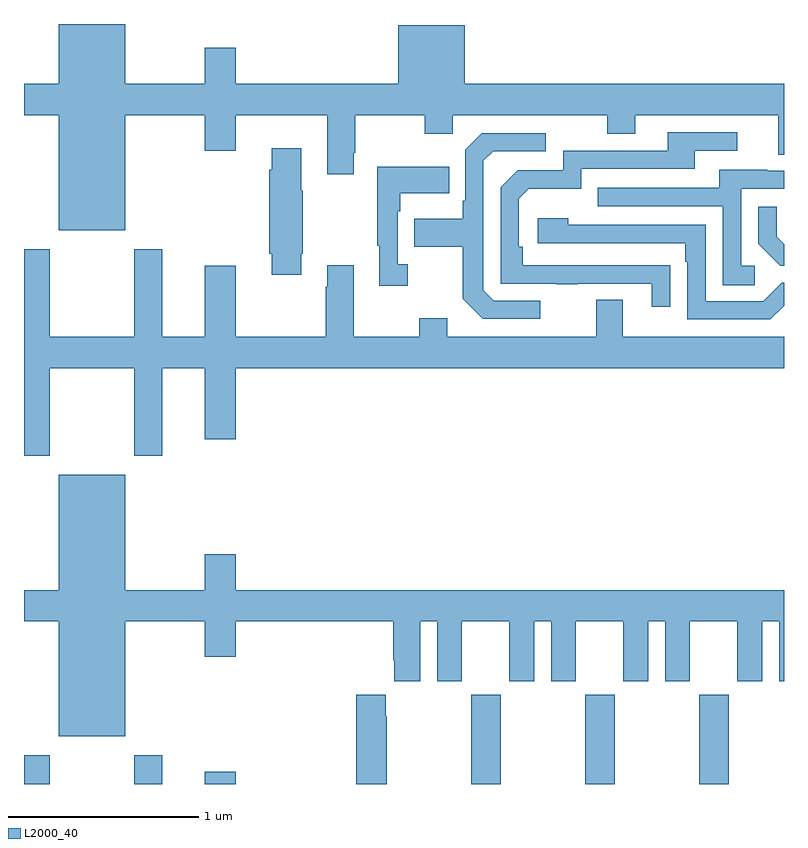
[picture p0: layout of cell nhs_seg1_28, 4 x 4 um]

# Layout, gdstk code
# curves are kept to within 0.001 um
import gdstk
lib = gdstk.Library(unit=1e-6, precision=1e-09)
def R(c, l, rs):  # rectangles x0, y0, x1, y1
    for r in rs: c.add(gdstk.rectangle(r[:2], r[2:], *l))
def A(c, l, x, y, w, h, nx, ny, dx, dy):  # array of equal rectangles
    R(c, l, [(x+i*dx, y+j*dy, x+i*dx+w, y+j*dy+h) for i in range(nx) for j in range(ny)])
def P(c, l, *ps):  # polygons
    for p in ps: c.add(gdstk.Polygon(p, *l))
L2000_40 = (2000, 40)

nhs_seg1_28 = lib.new_cell('nhs_seg1_28')
A(nhs_seg1_28, L2000_40, 113.353, 560.199, 0.155, 0.469, 3, 1, 0.6, 0)
R(nhs_seg1_28, L2000_40, [(111,560.199,111.135,560.35), (111.58,560.199,111.727,560.35), (111.95,560.199,112.114,560.263)])
P(nhs_seg1_28, L2000_40, [(111.532,563.72),(111.95,563.72),(111.95,563.532),(112.114,563.532),(112.114,563.72),(112.595,563.72),(112.595,563.409),(112.735,563.409),(112.735,563.521),(112.743,563.521),(112.743,563.72),(113.11,563.72),(113.11,563.621),(113.256,563.621),(113.256,563.72),(114.07,563.72),(114.07,563.621),(114.217,563.621),(114.217,563.72),(114.971,563.72),(114.971,563.512),(115,563.512),(115,563.884),(113.32,563.884),(113.32,564.193),(112.97,564.193),(112.97,563.884),(112.114,563.884),(112.114,564.073),(111.95,564.073),(111.95,563.884),(111.532,563.884),(111.532,564.199),(111.182,564.199),(111.182,563.884),(111,563.884),(111,563.72),(111.182,563.72),(111.182,563.114),(111.532,563.114)],
  [(114.401,562.928),(113.624,562.929),(113.624,563.026),(113.604,563.026),(113.604,563.28),(113.657,563.333),(113.934,563.333),(113.934,563.436),(114.529,563.436),(114.529,563.532),(114.754,563.532),(114.754,563.628),(114.389,563.628),(114.389,563.532),(113.838,563.532),(113.838,563.43),(113.598,563.43),(113.508,563.34),(113.508,562.833),(113.803,562.833),(113.803,562.828),(113.915,562.828),(113.915,562.833),(114.305,562.833),(114.305,562.71),(114.401,562.71)],
  [(113.716,562.743),(113.472,562.743),(113.418,562.797),(113.418,563.478),(113.469,563.529),(113.746,563.529),(113.746,563.625),(113.409,563.625),(113.322,563.538),(113.322,563.269),(113.31,563.269),(113.31,563.173),(113.053,563.173),(113.053,563.026),(113.31,563.026),(113.31,562.753),(113.415,562.647),(113.716,562.647)],
  [(112.459,562.99),(112.467,562.99),(112.467,563.321),(112.459,563.321),(112.459,563.545),(112.304,563.545),(112.304,563.432),(112.292,563.432),(112.292,562.99),(112.304,562.99),(112.304,562.878),(112.459,562.878)],
  [(113.02,562.934),(112.968,562.934),(112.968,563.213),(112.981,563.213),(112.981,563.309),(113.237,563.309),(113.237,563.449),(112.86,563.449),(112.86,563.033),(112.871,563.033),(112.871,562.821),(113.02,562.821)],
  [(114.847,562.926),(114.774,562.926),(114.774,563.331),(115,563.331),(115,563.427),(114.913,563.427),(114.913,563.431),(114.659,563.431),(114.659,563.337),(114.019,563.337),(114.019,563.241),(114.678,563.241),(114.678,562.825),(114.847,562.825)],
  [(115,563.04),(114.961,563.079),(114.961,563.236),(114.864,563.236),(114.864,563.042),(114.98,562.926),(115,562.926)],
  [(115,562.717),(115,562.836),(114.987,562.836),(114.891,562.74),(114.588,562.74),(114.588,563.142),(113.864,563.142),(113.864,563.176),(113.703,563.176),(113.703,563.046),(114.479,563.046),(114.479,562.949),(114.492,562.949),(114.492,562.644),(114.927,562.644)],
  [(111.135,562.388),(111.58,562.388),(111.58,561.927),(111.727,561.927),(111.727,562.388),(111.95,562.388),(111.95,562.014),(112.114,562.014),(112.114,562.388),(115,562.388),(115,562.552),(114.151,562.552),(114.151,562.747),(114.011,562.747),(114.011,562.552),(113.227,562.552),(113.227,562.651),(113.08,562.651),(113.08,562.552),(112.735,562.552),(112.735,562.93),(112.595,562.93),(112.595,562.817),(112.588,562.817),(112.588,562.552),(112.114,562.552),(112.114,562.927),(111.95,562.927),(111.95,562.552),(111.727,562.552),(111.727,563.014),(111.58,563.014),(111.58,562.552),(111.135,562.552),(111.135,563.014),(111,563.014),(111,561.927),(111.135,561.927)],
  [(111.532,561.056),(111.95,561.056),(111.95,560.868),(112.114,560.868),(112.114,561.056),(112.943,561.056),(112.943,560.851),(112.949,560.851),(112.949,560.739),(113.086,560.739),(113.086,561.056),(113.174,561.056),(113.174,560.739),(113.305,560.739),(113.305,561.056),(113.555,561.056),(113.555,560.739),(113.686,560.739),(113.686,561.056),(113.774,561.056),(113.774,560.739),(113.905,560.739),(113.905,561.056),(114.155,561.056),(114.155,560.739),(114.286,560.739),(114.286,561.056),(114.374,561.056),(114.374,560.739),(114.505,560.739),(114.505,561.056),(114.755,561.056),(114.755,560.739),(114.886,560.739),(114.886,561.056),(114.974,561.056),(114.974,560.739),(115,560.739),(115,561.22),(112.114,561.22),(112.114,561.409),(111.95,561.409),(111.95,561.22),(111.532,561.22),(111.532,561.826),(111.182,561.826),(111.182,561.22),(111,561.22),(111,561.056),(111.182,561.056),(111.182,560.45),(111.532,560.45)],
  [(112.908,560.555),(112.903,560.555),(112.903,560.668),(112.748,560.668),(112.748,560.199),(112.908,560.199)])

lib.write_gds('nhs_seg1_28.gds')
